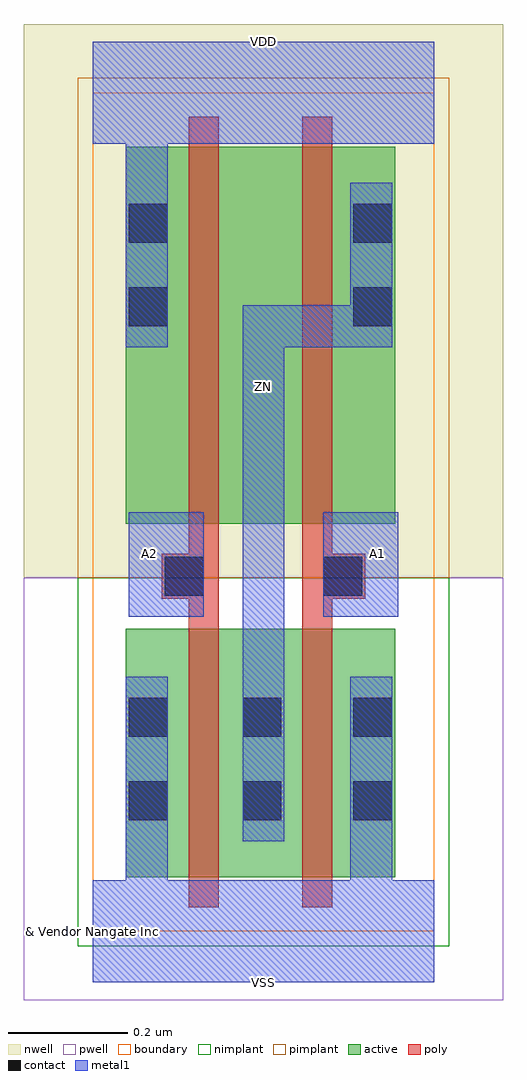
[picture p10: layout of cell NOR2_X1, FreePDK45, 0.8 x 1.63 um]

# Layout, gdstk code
import gdstk
lib = gdstk.Library(unit=1e-6, precision=1e-10)
def R(c, l, rs):  # rectangles x0, y0, x1, y1
    for r in rs: c.add(gdstk.rectangle(r[:2], r[2:], *l))
def P(c, l, *ps):  # polygons
    for p in ps: c.add(gdstk.Polygon(p, *l))
active = (1, 0)
pwell = (2, 0)
nwell = (3, 0)
nimplant = (4, 0)
pimplant = (5, 0)
poly = (9, 0)
contact = (10, 0)
metal1 = (11, 0)
boundary = (235, 0)

nor2_x1 = lib.new_cell('NOR2_X1')
R(nor2_x1, active, [(0.055,0.09,0.505,0.505), (0.055,0.68,0.505,1.31)])
R(nor2_x1, pwell, [(-0.115,-0.115,0.685,0.59)])
R(nor2_x1, nwell, [(-0.115,0.59,0.685,1.515)])
R(nor2_x1, nimplant, [(-0.025,-0.025,0.595,0.59)])
R(nor2_x1, pimplant, [(-0.025,0.59,0.595,1.425)])
P(nor2_x1, poly, [(0.16,0.04),(0.16,0.555),(0.115,0.555),(0.115,0.63),(0.16,0.63),(0.16,1.36),(0.21,1.36),(0.21,0.04)],
  [(0.35,0.04),(0.35,1.36),(0.4,1.36),(0.4,0.63),(0.455,0.63),(0.455,0.555),(0.4,0.555),(0.4,0.04)])
R(nor2_x1, contact, [(0.06,0.185,0.125,0.25), (0.25,0.185,0.315,0.25), (0.435,0.185,0.5,0.25), (0.06,0.325,0.125,0.39), (0.25,0.325,0.315,0.39), (0.435,0.325,0.5,0.39), (0.12,0.56,0.185,0.625), (0.385,0.56,0.45,0.625), (0.06,1.01,0.125,1.075), (0.435,1.01,0.5,1.075), (0.06,1.15,0.125,1.215), (0.435,1.15,0.5,1.215)])
R(nor2_x1, metal1, [(0.06,0.525,0.185,0.7), (0.385,0.525,0.51,0.7)])
P(nor2_x1, metal1, [(0.25,0.15),(0.25,1.045),(0.43,1.045),(0.43,1.25),(0.5,1.25),(0.5,0.975),(0.32,0.975),(0.32,0.15)],
  [(0,-0.085),(0,0.085),(0.055,0.085),(0.055,0.425),(0.125,0.425),(0.125,0.085),(0.43,0.085),(0.43,0.425),(0.5,0.425),(0.5,0.085),(0.57,0.085),(0.57,-0.085)],
  [(0.055,0.975),(0.055,1.315),(0,1.315),(0,1.485),(0.57,1.485),(0.57,1.315),(0.125,1.315),(0.125,0.975)])
R(nor2_x1, boundary, [(0,0,0.57,1.4)])
nor2_x1.add(gdstk.Label('A1', (0.475,0.63), layer=11, texttype=0))
nor2_x1.add(gdstk.Label('A2', (0.095,0.63), layer=11, texttype=0))
nor2_x1.add(gdstk.Label('VDD', (0.285,1.485), layer=11, texttype=0))
nor2_x1.add(gdstk.Label('VSS', (0.285,-0.085), layer=11, texttype=0))
nor2_x1.add(gdstk.Label('ZN', (0.285,0.91), layer=11, texttype=0))
nor2_x1.add(gdstk.Label('& Vendor Nangate Inc', (0,0), layer=63, texttype=63))
nor2_x1.add(gdstk.Label('& Product Open Cell Library', (0,0), layer=63, texttype=63))
nor2_x1.add(gdstk.Label('& Version 2010_12', (0,0), layer=63, texttype=63))
nor2_x1.add(gdstk.Label('& Instance NOR2_X1', (0,0), layer=63, texttype=63))

lib.write_gds('NOR2_X1.gds')
